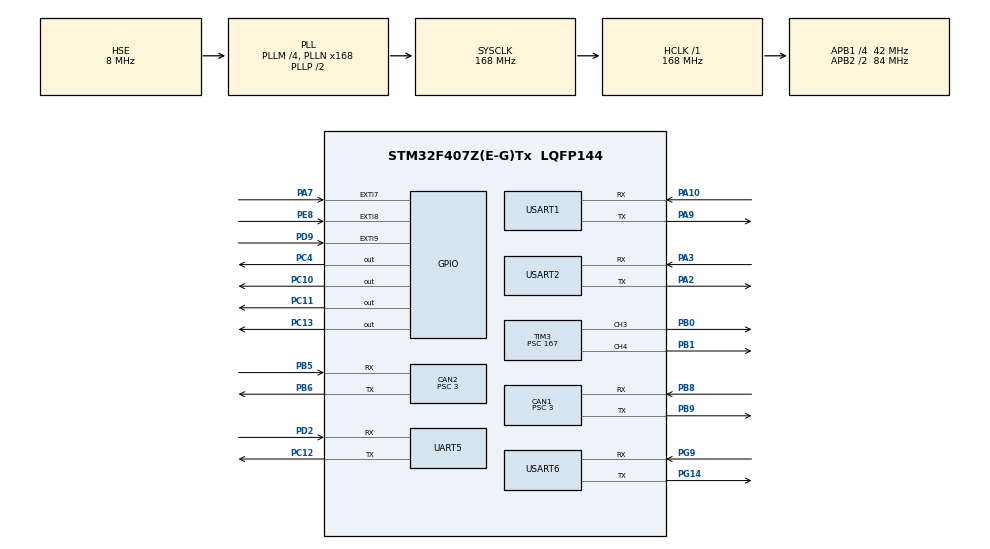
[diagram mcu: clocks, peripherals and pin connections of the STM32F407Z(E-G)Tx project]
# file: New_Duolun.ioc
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CAN1.BS1=CAN_BS1_12TQ
CAN1.CalculateBaudRate=1000000
CAN1.CalculateTimeBit=1000
CAN1.CalculateTimeQuantum=71.42857142857143
CAN1.Prescaler=3
CAN2.BS1=CAN_BS1_12TQ
CAN2.CalculateBaudRate=1000000
CAN2.CalculateTimeBit=1000
CAN2.CalculateTimeQuantum=71.42857142857143
CAN2.Prescaler=3
Dma.Request0=USART1_RX
Dma.Request1=USART1_TX
Dma.Request2=UART5_RX
Dma.Request3=USART6_RX
Dma.Request4=USART6_TX
Dma.Request5=USART2_RX
Dma.Request6=USART2_TX
Dma.UART5_RX.2.Direction=DMA_PERIPH_TO_MEMORY
Dma.UART5_RX.2.FIFOMode=DMA_FIFOMODE_DISABLE
Dma.UART5_RX.2.Instance=DMA1_Stream0
Dma.UART5_RX.2.MemDataAlignment=DMA_MDATAALIGN_BYTE
Dma.UART5_RX.2.MemInc=DMA_MINC_ENABLE
Dma.UART5_RX.2.Mode=DMA_NORMAL
Dma.UART5_RX.2.PeriphDataAlignment=DMA_PDATAALIGN_BYTE
Dma.UART5_RX.2.PeriphInc=DMA_PINC_DISABLE
Dma.UART5_RX.2.Priority=DMA_PRIORITY_LOW
Dma.USART1_RX.0.Direction=DMA_PERIPH_TO_MEMORY
Dma.USART1_RX.0.FIFOMode=DMA_FIFOMODE_DISABLE
Dma.USART1_RX.0.Instance=DMA2_Stream2
Dma.USART1_RX.0.MemDataAlignment=DMA_MDATAALIGN_BYTE
Dma.USART1_RX.0.MemInc=DMA_MINC_ENABLE
Dma.USART1_RX.0.Mode=DMA_NORMAL
Dma.USART1_RX.0.PeriphDataAlignment=DMA_PDATAALIGN_BYTE
Dma.USART1_RX.0.PeriphInc=DMA_PINC_DISABLE
Dma.USART1_RX.0.Priority=DMA_PRIORITY_LOW
Dma.USART1_TX.1.Direction=DMA_MEMORY_TO_PERIPH
Dma.USART1_TX.1.FIFOMode=DMA_FIFOMODE_DISABLE
Dma.USART1_TX.1.Instance=DMA2_Stream7
Dma.USART1_TX.1.MemDataAlignment=DMA_MDATAALIGN_BYTE
Dma.USART1_TX.1.MemInc=DMA_MINC_ENABLE
Dma.USART1_TX.1.Mode=DMA_NORMAL
Dma.USART1_TX.1.PeriphDataAlignment=DMA_PDATAALIGN_BYTE
Dma.USART1_TX.1.PeriphInc=DMA_PINC_DISABLE
Dma.USART1_TX.1.Priority=DMA_PRIORITY_LOW
Dma.USART2_RX.5.Direction=DMA_PERIPH_TO_MEMORY
Dma.USART2_RX.5.FIFOMode=DMA_FIFOMODE_DISABLE
Dma.USART2_RX.5.Instance=DMA1_Stream5
Dma.USART2_RX.5.MemDataAlignment=DMA_MDATAALIGN_BYTE
Dma.USART2_RX.5.MemInc=DMA_MINC_ENABLE
Dma.USART2_RX.5.Mode=DMA_NORMAL
Dma.USART2_RX.5.PeriphDataAlignment=DMA_PDATAALIGN_BYTE
Dma.USART2_RX.5.PeriphInc=DMA_PINC_DISABLE
Dma.USART2_RX.5.Priority=DMA_PRIORITY_LOW
Dma.USART2_TX.6.Direction=DMA_MEMORY_TO_PERIPH
Dma.USART2_TX.6.FIFOMode=DMA_FIFOMODE_DISABLE
Dma.USART2_TX.6.Instance=DMA1_Stream6
Dma.USART2_TX.6.MemDataAlignment=DMA_MDATAALIGN_BYTE
Dma.USART2_TX.6.MemInc=DMA_MINC_ENABLE
Dma.USART2_TX.6.Mode=DMA_NORMAL
Dma.USART2_TX.6.PeriphDataAlignment=DMA_PDATAALIGN_BYTE
Dma.USART2_TX.6.PeriphInc=DMA_PINC_DISABLE
Dma.USART2_TX.6.Priority=DMA_PRIORITY_LOW
Dma.USART6_RX.3.Direction=DMA_PERIPH_TO_MEMORY
Dma.USART6_RX.3.FIFOMode=DMA_FIFOMODE_DISABLE
Dma.USART6_RX.3.Instance=DMA2_Stream1
Dma.USART6_RX.3.MemDataAlignment=DMA_MDATAALIGN_BYTE
Dma.USART6_RX.3.MemInc=DMA_MINC_ENABLE
Dma.USART6_RX.3.Mode=DMA_NORMAL
Dma.USART6_RX.3.PeriphDataAlignment=DMA_PDATAALIGN_BYTE
Dma.USART6_RX.3.PeriphInc=DMA_PINC_DISABLE
Dma.USART6_RX.3.Priority=DMA_PRIORITY_LOW
Dma.USART6_TX.4.Direction=DMA_MEMORY_TO_PERIPH
Dma.USART6_TX.4.FIFOMode=DMA_FIFOMODE_DISABLE
Dma.USART6_TX.4.Instance=DMA2_Stream6
Dma.USART6_TX.4.MemDataAlignment=DMA_MDATAALIGN_BYTE
Dma.USART6_TX.4.MemInc=DMA_MINC_ENABLE
Dma.USART6_TX.4.Mode=DMA_NORMAL
Dma.USART6_TX.4.PeriphDataAlignment=DMA_PDATAALIGN_BYTE
Dma.USART6_TX.4.PeriphInc=DMA_PINC_DISABLE
Dma.USART6_TX.4.Priority=DMA_PRIORITY_LOW
FREERTOS.Tasks01=defaultTask,0,128,StartDefaultTask,Default,NULL,Dynamic,NULL,NULL;jigou_yuntai,-3,128,Jigou_yuntai,Default,NULL,Dynamic,NULL,NULL;dipan,2,128,Dipan,Default,NULL,Dynamic,NULL,NULL;jigou_quhuan,-3,128,Jigou_quhuan,Default,NULL,Dynamic,NULL,NULL;shoubing,-3,128,Shoubing,Default,NULL,Dynamic,NULL,NULL;xianyu,-3,128,Xianyu,Default,NULL,Dynamic,NULL,NULL
Mcu.Family=STM32F4
Mcu.Name=STM32F407Z(E-G)Tx
Mcu.Package=LQFP144
NVIC.CAN1_RX0_IRQn=true\:5\:0\:false\:false\:true\:true\:true\:true\:true
NVIC.CAN1_RX1_IRQn=true\:5\:0\:false\:false\:true\:true\:true\:true\:true
NVIC.CAN2_RX0_IRQn=true\:5\:0\:false\:false\:true\:true\:true\:true\:true
NVIC.CAN2_RX1_IRQn=true\:5\:0\:false\:false\:true\:true\:true\:true\:true
NVIC.DMA1_Stream0_IRQn=true\:5\:0\:false\:false\:true\:true\:false\:true\:true
NVIC.DMA1_Stream5_IRQn=true\:5\:0\:false\:false\:true\:true\:false\:true\:true
NVIC.DMA1_Stream6_IRQn=true\:5\:0\:false\:false\:true\:true\:false\:true\:true
NVIC.DMA2_Stream1_IRQn=true\:5\:0\:false\:false\:true\:true\:false\:true\:true
NVIC.DMA2_Stream2_IRQn=true\:5\:0\:false\:false\:true\:true\:false\:true\:true
NVIC.DMA2_Stream6_IRQn=true\:5\:0\:false\:false\:true\:true\:false\:true\:true
NVIC.DMA2_Stream7_IRQn=true\:5\:0\:false\:false\:true\:true\:false\:true\:true
NVIC.EXTI9_5_IRQn=true\:5\:0\:false\:false\:true\:true\:true\:true\:true
NVIC.PriorityGroup=NVIC_PRIORITYGROUP_4
NVIC.TIM2_IRQn=true\:5\:0\:false\:false\:true\:true\:true\:true\:true
NVIC.TIM7_IRQn=true\:15\:0\:false\:false\:true\:false\:false\:true\:true
NVIC.TimeBase=TIM7_IRQn
NVIC.TimeBaseIP=TIM7
NVIC.UART5_IRQn=true\:5\:0\:false\:false\:true\:true\:true\:true\:true
NVIC.USART1_IRQn=true\:6\:0\:true\:false\:true\:true\:true\:true\:true
NVIC.USART2_IRQn=true\:5\:0\:false\:false\:true\:true\:true\:true\:true
PA10.Mode=Asynchronous
PA10.Signal=USART1_RX
PA13.Mode=JTAG_4_pins
PA13.Signal=SYS_JTMS-SWDIO
PA14.Mode=JTAG_4_pins
PA14.Signal=SYS_JTCK-SWCLK
PA15.Mode=JTAG_4_pins
PA15.Signal=SYS_JTDI
PA2.Mode=Asynchronous
PA2.Signal=USART2_TX
PA3.Mode=Asynchronous
PA3.Signal=USART2_RX
PA7.GPIO_ModeDefaultEXTI=GPIO_MODE_IT_RISING_FALLING
PA7.GPIO_PuPd=GPIO_PULLDOWN
PA7.Signal=GPXTI7
PA9.Mode=Asynchronous
PA9.Signal=USART1_TX
PB0.Signal=S_TIM3_CH3
PB1.Signal=S_TIM3_CH4
PB3.Mode=JTAG_4_pins
PB3.Signal=SYS_JTDO-SWO
PB5.Mode=CAN_Activate
PB5.Signal=CAN2_RX
PB6.Mode=CAN_Activate
PB6.Signal=CAN2_TX
PB8.Mode=CAN_Activate
PB8.Signal=CAN1_RX
PB9.Mode=CAN_Activate
PB9.Signal=CAN1_TX
PC10.GPIO_PuPd=GPIO_PULLDOWN
PC10.Signal=GPIO_Output
PC11.GPIO_PuPd=GPIO_PULLDOWN
PC11.Signal=GPIO_Output
PC12.Mode=Asynchronous
PC12.Signal=UART5_TX
PC13-ANTI_TAMP.GPIO_PuPd=GPIO_PULLUP
PC13-ANTI_TAMP.PinState=GPIO_PIN_SET
PC13-ANTI_TAMP.Signal=GPIO_Output
PC4.GPIO_PuPd=GPIO_PULLDOWN
PC4.Signal=GPIO_Output
PD2.Mode=Asynchronous
PD2.Signal=UART5_RX
PD9.GPIO_ModeDefaultEXTI=GPIO_MODE_IT_RISING_FALLING
PD9.GPIO_PuPd=GPIO_PULLDOWN
PD9.Signal=GPXTI9
PE8.GPIO_ModeDefaultEXTI=GPIO_MODE_IT_RISING_FALLING
PE8.GPIO_PuPd=GPIO_PULLDOWN
PE8.Signal=GPXTI8
PG14.Mode=Asynchronous
PG14.Signal=USART6_TX
PG9.Mode=Asynchronous
PG9.Signal=USART6_RX
PH0-OSC_IN.Mode=HSE-External-Oscillator
PH0-OSC_IN.Signal=RCC_OSC_IN
PH1-OSC_OUT.Mode=HSE-External-Oscillator
PH1-OSC_OUT.Signal=RCC_OSC_OUT
ProjectManager.HeapSize=0x200
ProjectManager.StackSize=0x400
ProjectManager.TargetToolchain=MDK-ARM V5.32
RCC.48MHZClocksFreq_Value=84000000
RCC.AHBFreq_Value=168000000
RCC.APB1CLKDivider=RCC_HCLK_DIV4
RCC.APB1Freq_Value=42000000
RCC.APB1TimFreq_Value=84000000
RCC.APB2CLKDivider=RCC_HCLK_DIV2
RCC.APB2Freq_Value=84000000
RCC.APB2TimFreq_Value=168000000
RCC.CortexFreq_Value=168000000
RCC.HCLKFreq_Value=168000000
RCC.HSE_VALUE=8000000
RCC.HSI_VALUE=16000000
RCC.LSE_VALUE=32768
RCC.PLLM=4
RCC.PLLN=168
RCC.PLLSourceVirtual=RCC_PLLSOURCE_HSE
RCC.SYSCLKFreq_VALUE=168000000
RCC.SYSCLKSource=RCC_SYSCLKSOURCE_PLLCLK
RCC.VCOOutputFreq_Value=336000000
SH.S_TIM3_CH3.0=TIM3_CH3,PWM Generation3 CH3
SH.S_TIM3_CH4.0=TIM3_CH4,PWM Generation4 CH4
TIM2.Period=2000-1
TIM2.Prescaler=84-1
TIM3.AutoReloadPreload=TIM_AUTORELOAD_PRELOAD_ENABLE
TIM3.Channel-PWM\ Generation3\ CH3=TIM_CHANNEL_3
TIM3.Channel-PWM\ Generation4\ CH4=TIM_CHANNEL_4
TIM3.Period=19999
TIM3.Prescaler=167
TIM6.Prescaler=840-1
UART5.VirtualMode=Asynchronous
USART1.VirtualMode=VM_ASYNC
USART2.VirtualMode=VM_ASYNC
USART6.VirtualMode=VM_ASYNC
VP_FREERTOS_VS_CMSIS_V1.Mode=CMSIS_V1
VP_SYS_VS_tim7.Mode=TIM7
VP_TIM2_VS_ClockSourceINT.Mode=Internal
VP_TIM3_VS_ClockSourceINT.Mode=Internal
VP_TIM6_VS_ClockSourceINT.Mode=Enable_Timer
board=custom

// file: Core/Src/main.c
/* USER CODE BEGIN Header */
/**
  ******************************************************************************
  * @file           : main.c
  * @brief          : Main program body
  ******************************************************************************
  * @attention
  *
  * Copyright (c) 2022 STMicroelectronics.
  * All rights reserved.
  *
  * This software is licensed under terms that can be found in the LICENSE file
  * in the root directory of this software component.
  * If no LICENSE file comes with this software, it is provided AS-IS.
  *
  ******************************************************************************
  */
/* USER CODE END Header */
#include "main.h"
#include "cmsis_os.h"
#include "can.h"
#include "dma.h"
#include "tim.h"
#include "usart.h"
#include "gpio.h"

/* USER CODE BEGIN Includes */
#include "Speed_decomposition.h"
#include "pid_controller.h"
#include "lj_plus.h"
#include "vesc.h"
#include "DM_J4310.h"
#include "JY_ME02.h"
#include "M3508.h"
#include "mycan.h"
#include "myusart.h"
#include "pid.h"
#include "timer.h"
#include "vision.h"
#include "yuntai.h"
#include "quhuan.h"

/* USER CODE END Includes */

void SystemClock_Config(void);
void MX_FREERTOS_Init(void);

/* USER CODE BEGIN 0 */
int Change_FLAG[3];
float original_speed=400;
int8_t Number;
extern int Pin1_READ,Pin2_READ,Pin3_READ;
extern M3508x_STA M3508[8];
extern uint8_t self_rec_data[24];
extern uint8_t receive_data;
float Time;
int cnt = 0;
/* USER CODE END 0 */

int main(void)
{
  /* USER CODE BEGIN 1 */
// 15.51  1.71  -0.67
  /* USER CODE END 1 */

  /* MCU Configuration--------------------------------------------------------*/

  /* Reset of all peripherals, Initializes the Flash interface and the Systick. */
  HAL_Init();

  /* Configure the system clock */
  SystemClock_Config();

  /* Initialize all configured peripherals */
  MX_GPIO_Init();
  MX_DMA_Init();
  MX_TIM2_Init();
  MX_TIM6_Init();
  MX_USART1_UART_Init();
  MX_CAN1_Init();
  MX_CAN2_Init();
  MX_UART5_Init();
  MX_USART6_UART_Init();
  MX_USART2_UART_Init();
  MX_TIM3_Init();
  /* USER CODE BEGIN 2 */
//	MaPan_Receive_Start();
	RC_CtrlData_init();
	Can1_Configure();
	Can2_Configure();
	HAL_Delay(100);
	M3510_PID_MotorInit(M3508);
	SHOUBING_Receive_Start();
	MaPan_Receive_Start();

//	Self_MaPan_Receive_Start();
//	__HAL_UART_ENABLE_IT(&huart5,UART_IT_RXNE);
//	HAL_UART_Receive_IT(&huart5,self_rec_data,26);
//  HAL_UART_Receive_IT(&huart5,&receive_data,1);
  PID_Path_Init();

	Anglesum_Max_Min_Init();
	DM_MotorStart(&hcan1, DM_CANID_1, MIT_MODE);

	yuntai_middle_level = M350x[level_eid].angleSum;
	Left_Down_Pos = M350x[m2006_eid].angleSum;

	yuntai.M3508_pitch = JY_Encoder[pitch_eid].angle;
	yuntai.M3508_level = yuntai_middle_level;
	yuntai.M2006_angle_send = Left_Down_Pos;

	pid_Init_All();
	HAL_TIM_PWM_Start(&htim3,TIM_CHANNEL_3);
	HAL_TIM_PWM_Start(&htim3,TIM_CHANNEL_4);

	duoji(duoji_upright_state);

	HAL_TIM_Base_Start_IT(&htim2);
    ReadFlash(); // 上电读一次flash数据
//    WriteFlash();
  /* USER CODE END 2 */

  /* Call init function for freertos objects (in freertos.c) */
  MX_FREERTOS_Init();
  /* Start scheduler */
  osKernelStart();

  /* We should never get here as control is now taken by the scheduler */
  /* Infinite loop */
  while (1)
  {

  }
}

void SystemClock_Config(void)
{
  RCC_OscInitTypeDef RCC_OscInitStruct = {0};
  RCC_ClkInitTypeDef RCC_ClkInitStruct = {0};

  /** Configure the main internal regulator output voltage
  */
  __HAL_RCC_PWR_CLK_ENABLE();
  __HAL_PWR_VOLTAGESCALING_CONFIG(PWR_REGULATOR_VOLTAGE_SCALE1);
  /** Initializes the RCC Oscillators according to the specified parameters
  * in the RCC_OscInitTypeDef structure.
  */
  RCC_OscInitStruct.OscillatorType = RCC_OSCILLATORTYPE_HSE;
  RCC_OscInitStruct.HSEState = RCC_HSE_ON;
  RCC_OscInitStruct.PLL.PLLState = RCC_PLL_ON;
  RCC_OscInitStruct.PLL.PLLSource = RCC_PLLSOURCE_HSE;
  RCC_OscInitStruct.PLL.PLLM = 4;
  RCC_OscInitStruct.PLL.PLLN = 168;
  RCC_OscInitStruct.PLL.PLLP = RCC_PLLP_DIV2;
  RCC_OscInitStruct.PLL.PLLQ = 4;
  if (HAL_RCC_OscConfig(&RCC_OscInitStruct) != HAL_OK)
  {
    Error_Handler();
  }
  /** Initializes the CPU, AHB and APB buses clocks
  */
  RCC_ClkInitStruct.ClockType = RCC_CLOCKTYPE_HCLK|RCC_CLOCKTYPE_SYSCLK
                              |RCC_CLOCKTYPE_PCLK1|RCC_CLOCKTYPE_PCLK2;
  RCC_ClkInitStruct.SYSCLKSource = RCC_SYSCLKSOURCE_PLLCLK;
  RCC_ClkInitStruct.AHBCLKDivider = RCC_SYSCLK_DIV1;
  RCC_ClkInitStruct.APB1CLKDivider = RCC_HCLK_DIV4;
  RCC_ClkInitStruct.APB2CLKDivider = RCC_HCLK_DIV2;

  if (HAL_RCC_ClockConfig(&RCC_ClkInitStruct, FLASH_LATENCY_5) != HAL_OK)
  {
    Error_Handler();
  }
}

void HAL_TIM_PeriodElapsedCallback(TIM_HandleTypeDef *htim)
{
  if (htim->Instance == TIM7) {
    HAL_IncTick();
  }
  /* USER CODE BEGIN Callback 1 */
	if(htim == &htim2)//定时器2中断函数  0.2ms
	{
    Robot_Wheel_speed_Control_3508(original_speed,~Number);
		Robot_Wheel_Control_3508(Number);
		if(Number==0x07)Robot_Wheel_speed_Control_VESC();
//	M3508_Speed(M3508  ,1000);
//  M3508_Speed(M3508+1,1000);
//		M3508_Speed(M3508,1000);
//		Robot_Wheel_Control_3508(Number);
//		VESC_Set_RPM(2,1000,&hcan1);
//		M3508_Speed_Position(M3508,0);
//		M3508_Speed(M3508+2  ,1000);
//		CAN1_SetMotor_0_3(M3508);

    if(cnt == 0){
			Yuntai_Rotor_Control();  //VESC&DM
		  if(mtr.vel > 5)
			  yuntai.DM_vel = 20;
	  	else
		  	yuntai.DM_vel = 0;
	  	DM_MotorCtrl(&hcan1, DM_CANID_1, MIT_MODE , yuntai.DM_pos, yuntai.DM_vel, 3.5f, 0.2f, 0.31f);
			cnt++;
		}else if(cnt == 1){
			motor_control();
			M350x_TxMes_0_3(&hcan1, M350x);
			cnt = 0;
		}

	}
  /* USER CODE END Callback 1 */
}

void Error_Handler(void)
{
  __disable_irq();
  while (1)
  {
  }
}

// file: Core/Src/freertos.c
/* USER CODE BEGIN Header */
/**
 ******************************************************************************
 * File Name          : freertos.c
 * Description        : Code for freertos applications
 ******************************************************************************
 * @attention
 *
 * Copyright (c) 2022 STMicroelectronics.
 * All rights reserved.
 *
 * This software is licensed under terms that can be found in the LICENSE file
 * in the root directory of this software component.
 * If no LICENSE file comes with this software, it is provided AS-IS.
 *
 ******************************************************************************
 */
/* USER CODE END Header */

#include "FreeRTOS.h"
#include "task.h"
#include "main.h"
#include "cmsis_os.h"

/* USER CODE BEGIN Includes */
#include "Speed_decomposition.h"
#include "usart.h"
#include "lj_plus.h"
#include "gpio.h"
#include "pid_controller.h"
#include "Speed_decomposition.h"
#include "yuntai.h"
#include "quhuan.h"
/* USER CODE END Includes */

/* USER CODE BEGIN PD */
extern wheel_Struct  wheel_final_v[5];
extern M3508x_STA M3508[8];
extern handle_last SHOUBING;
/* USER CODE END PD */

/* USER CODE BEGIN PM */
int COUNT,Flag,Pin1_READ,Pin2_READ,Pin3_READ;float TIME;
extern coordinate_Struct Robot_Coordinate_system_Vel;
extern int Pin1_READ, Pin2_READ, Pin3_READ;
extern Action_data Action_Data;
extern LUJING_STU Lujing_Status; // 路径结构�?
int  Line_flag,qidong_flag;
float Angle, keep_x, keep_y;
uint8_t lj_flag = 0;
// 直线（目标x，目标y，要转的角度，V初，V末，加�?�区比例，减速区比例，w�?大，V�?大，停止区长度）
struct Lujing_Test
{
    float x;
    float y;
    float w;
    float v_start;
    float v_end;
    float a_up;
    float a_down;
    float w_max;
    float v_max;
    float stop_length;
};
struct Lujing_Test lujing_test = {
    .x = 0,//500,
    .y = 0,
    .w = 0,
    .v_start = 6000,
    .v_end = 0,
    .a_up = 0.2,
    .a_down = 0.5,
    .w_max = 100,
    .v_max = 10000,
    .stop_length = 20};
float CeShi[4] = {13000, 5000, 50, 6000};
float distance = 1000;
/* USER CODE END PM */

/* USER CODE BEGIN Variables */
extern uint8_t Number;
/* USER CODE END Variables */
osThreadId defaultTaskHandle;
osThreadId jigou_yuntaiHandle;
osThreadId dipanHandle;
osThreadId jigou_quhuanHandle;
osThreadId shoubingHandle;
osThreadId xianyuHandle;

void StartDefaultTask(void const * argument);
void Jigou_yuntai(void const * argument);
void Dipan(void const * argument);
void Jigou_quhuan(void const * argument);
void Shoubing(void const * argument);
void Xianyu(void const * argument);

void MX_FREERTOS_Init(void); /* (MISRA C 2004 rule 8.1) */

/* GetIdleTaskMemory prototype (linked to static allocation support) */
void vApplicationGetIdleTaskMemory( StaticTask_t **ppxIdleTaskTCBBuffer, StackType_t **ppxIdleTaskStackBuffer, uint32_t *pulIdleTaskStackSize );

/* USER CODE BEGIN GET_IDLE_TASK_MEMORY */
static StaticTask_t xIdleTaskTCBBuffer;
static StackType_t xIdleStack[configMINIMAL_STACK_SIZE];

void vApplicationGetIdleTaskMemory(StaticTask_t **ppxIdleTaskTCBBuffer, StackType_t **ppxIdleTaskStackBuffer, uint32_t *pulIdleTaskStackSize)
{
    *ppxIdleTaskTCBBuffer = &xIdleTaskTCBBuffer;
    *ppxIdleTaskStackBuffer = &xIdleStack[0];
    *pulIdleTaskStackSize = configMINIMAL_STACK_SIZE;
    /* place for user code */
}
/* USER CODE END GET_IDLE_TASK_MEMORY */

void MX_FREERTOS_Init(void) {

  /* Create the thread(s) */
  /* definition and creation of defaultTask */
  osThreadDef(defaultTask, StartDefaultTask, osPriorityNormal, 0, 128);
  defaultTaskHandle = osThreadCreate(osThread(defaultTask), NULL);

  /* definition and creation of jigou_yuntai */
  osThreadDef(jigou_yuntai, Jigou_yuntai, osPriorityIdle, 0, 128);
  jigou_yuntaiHandle = osThreadCreate(osThread(jigou_yuntai), NULL);

  /* definition and creation of dipan */
  osThreadDef(dipan, Dipan, osPriorityHigh, 0, 128);
  dipanHandle = osThreadCreate(osThread(dipan), NULL);

  /* definition and creation of jigou_quhuan */
  osThreadDef(jigou_quhuan, Jigou_quhuan, osPriorityIdle, 0, 128);
  jigou_quhuanHandle = osThreadCreate(osThread(jigou_quhuan), NULL);

  /* definition and creation of shoubing */
  osThreadDef(shoubing, Shoubing, osPriorityIdle, 0, 128);
  shoubingHandle = osThreadCreate(osThread(shoubing), NULL);

  /* definition and creation of xianyu */
  osThreadDef(xianyu, Xianyu, osPriorityIdle, 0, 128);
  xianyuHandle = osThreadCreate(osThread(xianyu), NULL);

}

void StartDefaultTask(void const * argument)
{
  /* USER CODE BEGIN StartDefaultTask */
    /* Infinite loop */
    for (;;)
    {
					if(SHOUBING.F_4 == 1)
					{
								yuntai.M3508_level += 0.00001 * SHOUBING.F_LX;
//			yuntai.M3508_pitch += 0.000000001 * SHOUBING.F_LY;
//			yuntai.RPM_begin = SHOUBING.F_5;
//			yuntai.RPM_flag = SHOUBING.M_L;

					}
					yuntai.DM_flag = SHOUBING.F_6;
		}

    osDelay(1);
//
//    }
  /* USER CODE END StartDefaultTask */
}

void Jigou_yuntai(void const * argument)
{
  for(;;)
  {
    osDelay(1);
  }
}

void Dipan(void const * argument)
{
  /* USER CODE BEGIN Dipan */
  /* Infinite loop */
  for(;;)
  {
		 OP();
		if (SHOUBING.F_1)
        {
           line(-3100, 0, 0, 6000, 0, 0.2, 0.2, 1000, 20000, 20);
            // Բ
//            circle(500, 500, 90, 230, 0, 500, DISABLE, 0.2, 0.5);
					while(SHOUBING.F_1)
					{
						 osDelay(1);
					}
        }
	  if (SHOUBING.F_2)
        {
           line(lujing_test.x, lujing_test.y, lujing_test.w, lujing_test.v_start, lujing_test.v_end, lujing_test.a_up, lujing_test.a_down, lujing_test.w_max, lujing_test.v_max, lujing_test.stop_length);
            // Բ
//            circle(500, 500, 90, 230, 0, 500, DISABLE, 0.2, 0.5);
            while(SHOUBING.F_2)
					{
						 osDelay(1);
					}
        }
		if (SHOUBING.F_3)
        {
          Robot_Coordinate_system_Vel.x=SHOUBING.F_RX;
  		    Robot_Coordinate_system_Vel.y=SHOUBING.F_RY;
  		    Robot_Coordinate_system_Vel.w=SHOUBING.F_LX;

					Lujing_Status.CoordinateSystem.Target_Position.w = Action_Data.angle_Z;
					Lujing_Status.CoordinateSystem.Target_Position.x = Action_Data.x;
					Lujing_Status.CoordinateSystem.Target_Position.y = Action_Data.y;
        }
		else if(SHOUBING.F_3 == 0)
		{
			 Keep_Robot_Position(Lujing_Status.CoordinateSystem.Target_Position.w, Lujing_Status.CoordinateSystem.Target_Position.x, Lujing_Status.CoordinateSystem.Target_Position.y);
		}
////
//        Keep_Robot_Position(Lujing_Status.CoordinateSystem.Target_Position.w, Lujing_Status.CoordinateSystem.Target_Position.x, Lujing_Status.CoordinateSystem.Target_Position.y);
//        Robot_Coordinate_system_Vel.x=lujing_test.x;
//		    Robot_Coordinate_system_Vel.y=lujing_test.y;
//		    Robot_Coordinate_system_Vel.w=lujing_test.w;
        Robot_Wheel_Control();
        //		}
    osDelay(1);
  }
  /* USER CODE END Dipan */
}

void Jigou_quhuan(void const * argument)
{
  /* USER CODE BEGIN Jigou_quhuan */
  /* Infinite loop */
  for(;;)
  {
		yuntai_control_all();   //ȡ������
    osDelay(1);
  }
  /* USER CODE END Jigou_quhuan */
}

void Shoubing(void const * argument)
{
  for(;;)
  {
    osDelay(1);
  }
}

void Xianyu(void const * argument)
{
  for(;;)
  {
    osDelay(1);
  }
}
